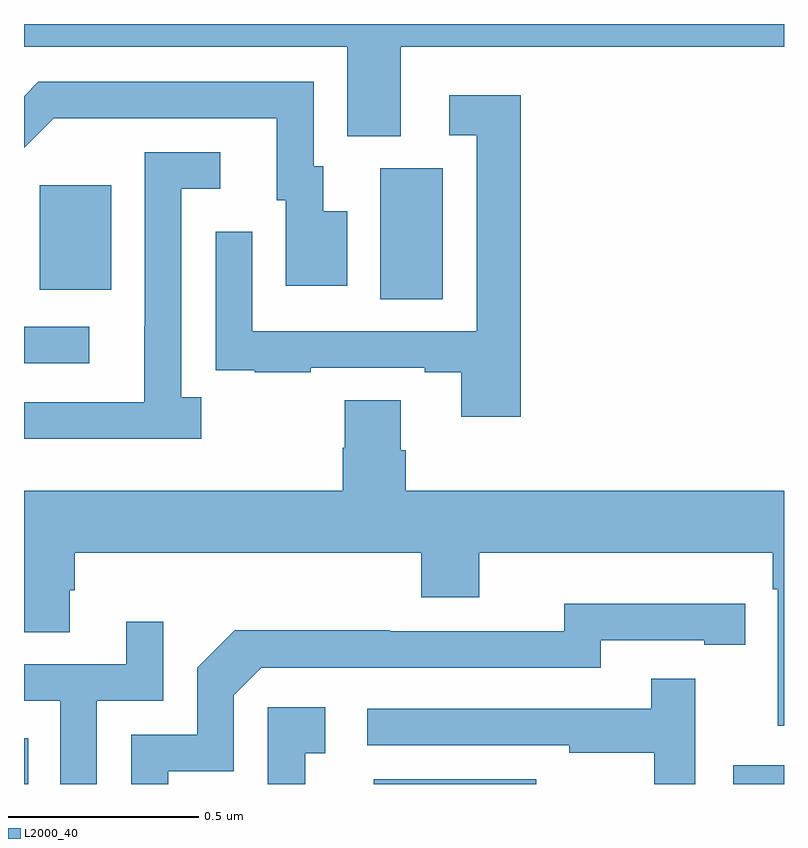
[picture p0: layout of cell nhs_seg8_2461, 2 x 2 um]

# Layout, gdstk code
import gdstk
lib = gdstk.Library(unit=1e-6, precision=1e-09)
def R(c, l, rs):  # rectangles x0, y0, x1, y1
    for r in rs: c.add(gdstk.rectangle(r[:2], r[2:], *l))
def P(c, l, *ps):  # polygons
    for p in ps: c.add(gdstk.Polygon(p, *l))
L2000_40 = (2000, 40)

nhs_seg8_2461 = lib.new_cell('nhs_seg8_2461')
R(nhs_seg8_2461, L2000_40, [(144,1107.9,144.011,1108.02), (144.92,1107.9,145.348,1107.913), (145.866,1107.9,146,1107.949), (144,1109.007,144.172,1109.103), (144.938,1109.176,145.102,1109.52), (144.041,1109.201,144.229,1109.476)])
P(nhs_seg8_2461, L2000_40, [(144.991,1109.84),(146,1109.84),(146,1109.9),(144,1109.9),(144,1109.84),(144.851,1109.84),(144.851,1109.605),(144.991,1109.605)],
  [(144.85,1109.407),(144.787,1109.407),(144.787,1109.526),(144.762,1109.526),(144.762,1109.748),(144.038,1109.748),(144,1109.71),(144,1109.574),(144.078,1109.652),(144.665,1109.652),(144.665,1109.436),(144.689,1109.436),(144.689,1109.211),(144.85,1109.211)],
  [(145.307,1109.713),(145.119,1109.713),(145.119,1109.607),(145.191,1109.607),(145.191,1109.091),(144.6,1109.091),(144.6,1109.353),(144.504,1109.353),(144.504,1109.098),(144.505,1109.098),(144.505,1108.989),(144.607,1108.989),(144.607,1108.983),(144.755,1108.983),(144.755,1108.995),(145.055,1108.995),(145.055,1108.983),(145.151,1108.983),(145.151,1108.866),(145.307,1108.866)],
  [(144.466,1108.918),(144.414,1108.918),(144.414,1109.466),(144.517,1109.466),(144.517,1109.562),(144.318,1109.562),(144.318,1109.105),(144.317,1109.105),(144.317,1108.905),(144,1108.905),(144,1108.808),(144.466,1108.808)],
  [(146,1108.672),(145.004,1108.672),(145.004,1108.778),(144.991,1108.778),(144.991,1108.91),(144.844,1108.91),(144.844,1108.785),(144.839,1108.785),(144.839,1108.672),(144,1108.672),(144,1108.3),(144.121,1108.3),(144.121,1108.41),(144.134,1108.41),(144.134,1108.508),(145.046,1108.508),(145.046,1108.391),(145.198,1108.391),(145.198,1108.508),(145.97,1108.508),(145.97,1108.412),(145.983,1108.412),(145.983,1108.053),(146,1108.053)],
  [(144.379,1107.933),(144.552,1107.933),(144.552,1108.134),(144.624,1108.206),(145.518,1108.206),(145.518,1108.278),(145.79,1108.278),(145.79,1108.266),(145.898,1108.266),(145.898,1108.374),(145.79,1108.374),(145.79,1108.375),(145.422,1108.375),(145.422,1108.302),(144.962,1108.302),(144.962,1108.304),(144.554,1108.304),(144.456,1108.206),(144.456,1108.029),(144.282,1108.029),(144.282,1107.9),(144.379,1107.9)],
  [(144.192,1108.119),(144.366,1108.119),(144.366,1108.327),(144.269,1108.327),(144.269,1108.215),(144,1108.215),(144,1108.119),(144.096,1108.119),(144.096,1107.9),(144.192,1107.9)],
  [(145.767,1108.177),(145.651,1108.177),(145.651,1108.098),(144.903,1108.098),(144.903,1108.002),(145.435,1108.002),(145.435,1107.982),(145.659,1107.982),(145.659,1107.9),(145.767,1107.9)],
  [(144.74,1107.981),(144.793,1107.981),(144.793,1108.102),(144.642,1108.102),(144.642,1107.9),(144.74,1107.9)])

lib.write_gds('nhs_seg8_2461.gds')
